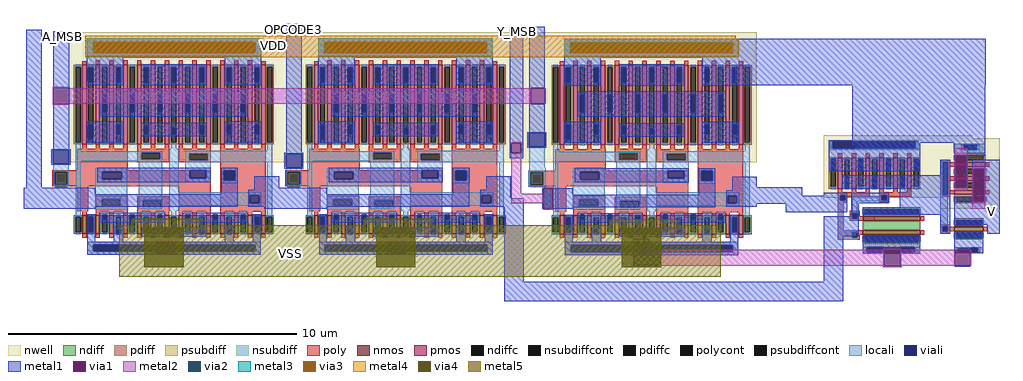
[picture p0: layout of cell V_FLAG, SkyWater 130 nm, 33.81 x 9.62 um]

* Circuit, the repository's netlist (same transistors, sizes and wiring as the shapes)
* NGSPICE file created from V_FLAG.ext - technology: sky130B

.subckt sky130_fd_pr__nfet_01v8_6H9P4D a_n73_n100# a_15_n100# a_n15_n126# VSUBS
X0 a_15_n100# a_n15_n126# a_n73_n100# VSUBS sky130_fd_pr__nfet_01v8 ad=0.29 pd=2.58 as=0.29 ps=2.58 w=1 l=0.15
.ends

.subckt efepmos_W107-L15-F3 a_n129_n204# a_n173_n107# w_n209_n207# a_n81_n107#
X0 a_n81_n107# a_n129_n204# a_n173_n107# w_n209_n207# sky130_fd_pr__pfet_01v8 ad=0.3317 pd=2.76 as=0.17655 ps=1.4 w=1.07 l=0.15
X1 a_n81_n107# a_n129_n204# a_n173_n107# w_n209_n207# sky130_fd_pr__pfet_01v8 ad=0.17655 pd=1.4 as=0.3317 ps=2.76 w=1.07 l=0.15
X2 a_n173_n107# a_n129_n204# a_n81_n107# w_n209_n207# sky130_fd_pr__pfet_01v8 ad=0.17655 pd=1.4 as=0.17655 ps=1.4 w=1.07 l=0.15
.ends

.subckt inv A VSS VDD Y
Xsky130_fd_pr__nfet_01v8_6H9P4D_0 Y VSS A VSS sky130_fd_pr__nfet_01v8_6H9P4D
Xefepmos_W107-L15-F3_0 A VDD VDD Y efepmos_W107-L15-F3
.ends

.subckt nmos_2shared_W200-L015-F1 a_63_n200# a_n63_n226# a_n33_n200# a_33_n226# a_n125_n200#
+ VSUBS
X0 a_n33_n200# a_n63_n226# a_n125_n200# VSUBS sky130_fd_pr__nfet_01v8 ad=0.33 pd=2.33 as=0.62 ps=4.62 w=2 l=0.15
X1 a_63_n200# a_33_n226# a_n33_n200# VSUBS sky130_fd_pr__nfet_01v8 ad=0.62 pd=4.62 as=0.33 ps=2.33 w=2 l=0.15
.ends

.subckt pmos_p2-w321-L015-f3 a_n317_n107# w_n353_n143# a_n225_n107# a_33_n138# a_n255_n138#
X0 a_n225_n107# a_33_n138# a_n317_n107# w_n353_n143# sky130_fd_pr__pfet_01v8 ad=0.17655 pd=1.4 as=0.17655 ps=1.4 w=1.07 l=0.15
X1 a_n225_n107# a_n255_n138# a_n317_n107# w_n353_n143# sky130_fd_pr__pfet_01v8 ad=0.17655 pd=1.4 as=0.3317 ps=2.76 w=1.07 l=0.15
X2 a_n317_n107# a_33_n138# a_n225_n107# w_n353_n143# sky130_fd_pr__pfet_01v8 ad=0.17655 pd=1.4 as=0.17655 ps=1.4 w=1.07 l=0.15
X3 a_n317_n107# a_n255_n138# a_n225_n107# w_n353_n143# sky130_fd_pr__pfet_01v8 ad=0.17655 pd=1.4 as=0.17655 ps=1.4 w=1.07 l=0.15
X4 a_n225_n107# a_n255_n138# a_n317_n107# w_n353_n143# sky130_fd_pr__pfet_01v8 ad=0.17655 pd=1.4 as=0.17655 ps=1.4 w=1.07 l=0.15
X5 a_n317_n107# a_33_n138# a_n225_n107# w_n353_n143# sky130_fd_pr__pfet_01v8 ad=0.3317 pd=2.76 as=0.17655 ps=1.4 w=1.07 l=0.15
.ends

.subckt NAND2 A B VSS VDD Y
Xnmos_2shared_W200-L015-F1_0 VSS B a_994_146# A Y VSS nmos_2shared_W200-L015-F1
Xpmos_p2-w321-L015-f3_0 VDD VDD Y B A pmos_p2-w321-L015-f3
.ends

.subckt XOR2 A B VSS VDD Y
X0 VDD A a_129_987# VDD sky130_fd_pr__pfet_01v8 ad=0.45375 pd=3.08 as=0.45375 ps=3.08 w=2.75 l=0.15
X1 a_129_987# A VDD VDD sky130_fd_pr__pfet_01v8 ad=0.45375 pd=3.08 as=0.45375 ps=3.08 w=2.75 l=0.15
X2 a_129_987# a_n51_367# Y VDD sky130_fd_pr__pfet_01v8 ad=0.45375 pd=3.08 as=0.45375 ps=3.08 w=2.75 l=0.15
X3 Y a_99_341# a_129_987# VDD sky130_fd_pr__pfet_01v8 ad=0.45375 pd=3.08 as=0.45375 ps=3.08 w=2.75 l=0.15
X4 Y a_n51_367# a_129_987# VDD sky130_fd_pr__pfet_01v8 ad=0.45375 pd=3.08 as=0.45375 ps=3.08 w=2.75 l=0.15
X5 Y a_n51_367# a_129_987# VDD sky130_fd_pr__pfet_01v8 ad=0.45375 pd=3.08 as=0.45375 ps=3.08 w=2.75 l=0.15
X6 a_129_987# a_99_341# Y VDD sky130_fd_pr__pfet_01v8 ad=0.45375 pd=3.08 as=0.45375 ps=3.08 w=2.75 l=0.15
X7 a_129_987# a_99_341# Y VDD sky130_fd_pr__pfet_01v8 ad=0.45375 pd=3.08 as=0.45375 ps=3.08 w=2.75 l=0.15
X8 VDD B a_129_987# VDD sky130_fd_pr__pfet_01v8 ad=0.45375 pd=3.08 as=0.45375 ps=3.08 w=2.75 l=0.15
X9 a_129_367# a_99_341# VSS VSS sky130_fd_pr__nfet_01v8 ad=0.10725 pd=0.98 as=0.10075 ps=0.96 w=0.65 l=0.15
X10 a_99_341# B VSS VSS sky130_fd_pr__nfet_01v8 ad=0.1885 pd=1.88 as=0.10075 ps=0.96 w=0.65 l=0.15
X11 a_129_987# B VDD VDD sky130_fd_pr__pfet_01v8 ad=0.45375 pd=3.08 as=0.45375 ps=3.08 w=2.75 l=0.15
X12 VDD B a_129_987# VDD sky130_fd_pr__pfet_01v8 ad=0.42625 pd=3.06 as=0.45375 ps=3.08 w=2.75 l=0.15
X13 VSS A a_n51_367# VSS sky130_fd_pr__nfet_01v8 ad=0.10075 pd=0.96 as=0.1885 ps=1.88 w=0.65 l=0.15
X14 a_129_987# A VDD VDD sky130_fd_pr__pfet_01v8 ad=0.45375 pd=3.08 as=0.42625 ps=3.06 w=2.75 l=0.15
X15 a_99_341# B VDD VDD sky130_fd_pr__pfet_01v8 ad=0.7975 pd=6.08 as=0.42625 ps=3.06 w=2.75 l=0.15
X16 VDD A a_n51_367# VDD sky130_fd_pr__pfet_01v8 ad=0.42625 pd=3.06 as=0.7975 ps=6.08 w=2.75 l=0.15
X17 VSS a_99_341# a_129_367# VSS sky130_fd_pr__nfet_01v8 ad=0.10725 pd=0.98 as=0.10725 ps=0.98 w=0.65 l=0.15
X18 a_129_367# a_99_341# VSS VSS sky130_fd_pr__nfet_01v8 ad=0.10725 pd=0.98 as=0.10725 ps=0.98 w=0.65 l=0.15
X19 a_129_367# a_n51_367# Y VSS sky130_fd_pr__nfet_01v8 ad=0.10725 pd=0.98 as=0.10725 ps=0.98 w=0.65 l=0.15
X20 Y A a_705_367# VSS sky130_fd_pr__nfet_01v8 ad=0.10725 pd=0.98 as=0.10725 ps=0.98 w=0.65 l=0.15
X21 Y a_n51_367# a_129_367# VSS sky130_fd_pr__nfet_01v8 ad=0.10725 pd=0.98 as=0.10725 ps=0.98 w=0.65 l=0.15
X22 Y a_n51_367# a_129_367# VSS sky130_fd_pr__nfet_01v8 ad=0.10725 pd=0.98 as=0.10725 ps=0.98 w=0.65 l=0.15
X23 a_705_367# A Y VSS sky130_fd_pr__nfet_01v8 ad=0.10725 pd=0.98 as=0.10725 ps=0.98 w=0.65 l=0.15
X24 a_705_367# A Y VSS sky130_fd_pr__nfet_01v8 ad=0.10725 pd=0.98 as=0.10725 ps=0.98 w=0.65 l=0.15
X25 VSS B a_705_367# VSS sky130_fd_pr__nfet_01v8 ad=0.10725 pd=0.98 as=0.10725 ps=0.98 w=0.65 l=0.15
X26 a_705_367# B VSS VSS sky130_fd_pr__nfet_01v8 ad=0.10725 pd=0.98 as=0.10725 ps=0.98 w=0.65 l=0.15
X27 VSS B a_705_367# VSS sky130_fd_pr__nfet_01v8 ad=0.10075 pd=0.96 as=0.10725 ps=0.98 w=0.65 l=0.15
.ends

.subckt V_FLAG A_MSB B_MSB OPCODE3 Y_MSB V
Xinv_0 inv_0/A VSUBS inv_0/VDD V inv
XNAND2_0 XOR2_0/Y XOR2_2/Y VSUBS inv_0/VDD inv_0/A NAND2
XXOR2_0 A_MSB Y_MSB VSUBS inv_0/VDD XOR2_0/Y XOR2
XXOR2_1 A_MSB B_MSB VSUBS inv_0/VDD XOR2_2/B XOR2
XXOR2_2 OPCODE3 XOR2_2/B VSUBS inv_0/VDD XOR2_2/Y XOR2
.ends

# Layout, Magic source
magic
tech sky130B
magscale 1 2
<< nwell >>
rect 1282 2682 1443 2683
rect -168 1782 4600 2682
rect 5760 1946 6094 1969
rect 5742 1916 6278 1946
rect 5733 1844 6278 1916
rect 5742 1542 6278 1844
rect 5770 1537 6278 1542
rect 5802 1536 6278 1537
<< poly >>
rect -282 1715 -59 1725
rect -282 1626 -266 1715
rect -177 1626 -59 1715
rect -282 1616 -59 1626
rect 1332 1715 1547 1725
rect 1332 1626 1348 1715
rect 1437 1626 1547 1715
rect 1332 1616 1547 1626
rect 3016 1713 3251 1723
rect 3016 1624 3032 1713
rect 3121 1624 3251 1713
rect 3016 1614 3251 1624
<< polycont >>
rect -266 1626 -177 1715
rect 1348 1626 1437 1715
rect 3032 1624 3121 1713
<< locali >>
rect -275 1715 -166 1770
rect -275 1626 -266 1715
rect -177 1626 -166 1715
rect -275 1616 -166 1626
rect 1338 1715 1447 1743
rect 3022 1745 3131 1888
rect 3022 1723 3138 1745
rect 1338 1626 1348 1715
rect 1437 1626 1447 1715
rect 1338 1616 1447 1626
rect 3016 1713 3138 1723
rect 3016 1624 3032 1713
rect 3121 1624 3138 1713
rect -266 1610 -177 1616
rect 1348 1610 1437 1616
rect 3016 1613 3138 1624
rect 3032 1610 3121 1613
<< viali >>
rect 3022 1888 3131 1985
rect -275 1770 -166 1867
rect 1338 1743 1447 1840
<< metal1 >>
rect -463 1604 -355 2700
rect -274 2297 -165 2690
rect -274 1873 -165 2185
rect -287 1867 -154 1873
rect -287 1770 -275 1867
rect -166 1770 -154 1867
rect 1338 1846 1447 2742
rect 2890 1913 2982 2720
rect 3022 2296 3131 2720
rect 4446 2316 6187 2637
rect 3022 2187 3034 2296
rect 3022 1991 3131 2187
rect -287 1764 -154 1770
rect 1326 1840 1459 1846
rect 1326 1743 1338 1840
rect 1447 1743 1459 1840
rect 2890 1844 2899 1913
rect 2968 1844 2982 1913
rect 3010 1985 3143 1991
rect 3010 1888 3022 1985
rect 3131 1888 3143 1985
rect 5261 1916 6184 2316
rect 5261 1898 5733 1916
rect 3010 1882 3143 1888
rect 5281 1848 5733 1898
rect 5965 1898 6184 1916
rect 5965 1848 6181 1898
rect 2890 1810 2982 1844
rect 1326 1737 1459 1743
rect 2759 1610 2872 1656
rect -481 1461 -47 1604
rect 1187 1461 1559 1604
rect 2759 1531 2857 1610
rect 2759 1519 2987 1531
rect 2850 955 2987 1519
rect 3114 1459 3120 1602
rect 3189 1459 3269 1602
rect 4473 1549 4916 1608
rect 4473 1494 5178 1549
rect 5760 1542 5908 1692
rect 5735 1536 5908 1542
rect 4802 1435 5178 1494
rect 5760 1418 5908 1536
rect 6209 1428 6251 1453
rect 5064 955 5200 1406
rect 5485 1180 5594 1250
rect 5475 1174 5602 1180
rect 5475 1065 5484 1174
rect 5594 1065 5602 1174
rect 5475 1056 5602 1065
rect 5971 1174 6080 1300
rect 5971 1059 6080 1065
rect 2850 818 5200 955
<< via1 >>
rect -274 2185 -165 2297
rect 3034 2187 3131 2296
rect 2899 1844 2968 1913
rect 3120 1459 3189 1602
rect 5484 1065 5594 1174
rect 5971 1065 6080 1174
<< metal2 >>
rect -280 2297 -160 2304
rect -280 2185 -274 2297
rect -165 2296 -160 2297
rect -165 2187 3034 2296
rect 3131 2187 3137 2296
rect -165 2185 -160 2187
rect -280 2179 -160 2185
rect 2899 1913 2968 1919
rect 2899 1565 2968 1844
rect 3120 1602 3189 1608
rect 2899 1496 3120 1565
rect 3120 1453 3189 1459
rect 3744 1174 3853 1251
rect 5474 1174 5605 1184
rect 3744 1065 5484 1174
rect 5594 1065 5971 1174
rect 6080 1065 6086 1174
rect 5474 1055 5605 1065
<< metal4 >>
rect -52 2509 4453 2657
<< metal5 >>
rect 181 989 4352 1346
use inv  inv_0 ~/Documents/vlsi/vlsi_sky130b/design/mag/inv
transform 1 0 5870 0 1 1461
box 0 -311 412 486
use NAND2  NAND2_0 ~/Documents/vlsi/vlsi_sky130b/design/mag/NAND/NAND2
transform 1 0 4708 0 1 1165
box 356 -17 1062 804
use XOR2  XOR2_0 ~/Documents/vlsi/vlsi_sky130b/design/mag/XOR
transform 1 0 3229 0 1 917
box -109 77 1371 1764
use XOR2  XOR2_1
transform 1 0 -81 0 1 919
box -109 77 1371 1764
use XOR2  XOR2_2
transform 1 0 1525 0 1 919
box -109 77 1371 1764
<< labels >>
flabel metal1 -237 2635 -190 2673 0 FreeSans 160 0 0 0 A_MSB
port 1 nsew
flabel metal1 -432 2633 -385 2671 0 FreeSans 160 0 0 0 B_MSB
port 2 nsew
flabel metal1 1367 2683 1414 2721 0 FreeSans 160 0 0 0 OPCODE3
port 3 nsew
flabel metal1 2920 2675 2962 2700 0 FreeSans 160 0 0 0 Y_MSB
port 4 nsew
flabel metal1 6209 1428 6251 1453 0 FreeSans 160 0 0 0 V
port 5 nsew
flabel metal5 1282 1012 1456 1282 0 FreeSans 1600 0 0 0 VSS
port 6 nsew
flabel metal4 1220 2552 1282 2624 0 FreeSans 1600 0 0 0 VDD
port 7 nsew
<< end >>

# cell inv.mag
magic
tech sky130B
magscale 1 2
<< nwell >>
rect 0 366 412 486
rect 101 347 104 366
rect 223 290 343 338
rect 326 288 343 290
rect 376 0 412 366
<< psubdiff >>
rect 100 -270 300 -268
rect 100 -304 131 -270
rect 263 -304 300 -270
rect 100 -311 300 -304
<< nsubdiff >>
rect 100 442 314 448
rect 100 408 163 442
rect 254 408 314 442
rect 100 382 314 408
<< psubdiffcont >>
rect 131 -304 263 -270
<< nsubdiffcont >>
rect 163 408 254 442
<< poly >>
rect 3 -124 70 -108
rect 3 -158 19 -124
rect 53 -126 70 -124
rect 53 -156 75 -126
rect 53 -158 70 -156
rect 3 -174 70 -158
<< polycont >>
rect 19 -158 53 -124
<< locali >>
rect 147 408 163 442
rect 254 408 270 442
rect 3 -124 53 339
rect 3 -158 19 -124
rect 3 -174 53 -158
rect 115 -304 131 -270
rect 263 -304 279 -270
<< viali >>
rect 163 408 254 442
rect 19 -158 53 -124
rect 131 -304 263 -270
<< metal1 >>
rect 100 442 314 486
rect 100 408 163 442
rect 254 408 314 442
rect 100 366 314 408
rect 101 347 104 366
rect 0 80 53 338
rect 223 82 412 338
rect 0 -124 69 80
rect 100 -114 412 82
rect 0 -158 19 -124
rect 53 -158 69 -124
rect 0 -175 69 -158
rect 100 -270 300 -161
rect 328 -175 412 -114
rect 100 -304 131 -270
rect 263 -304 300 -270
rect 100 -311 300 -304
use efepmos_W107-L15-F3  efepmos_W107-L15-F3_0
transform 0 1 207 -1 0 209
box -209 -207 209 169
use sky130_fd_pr__nfet_01v8_6H9P4D  sky130_fd_pr__nfet_01v8_6H9P4D_0
transform 0 1 200 -1 0 -141
box -73 -126 73 126
<< labels >>
rlabel metal1 0 78 0 78 3 A
port 1 e
rlabel metal1 198 -311 198 -311 5 VSS
port 2 s
rlabel metal1 210 486 210 486 5 VDD
port 3 s
rlabel metal1 412 78 412 78 3 Y
port 4 e
<< end >>

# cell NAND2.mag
magic
tech sky130B
magscale 1 2
<< nwell >>
rect 356 684 1062 804
<< ndiff >>
rect 994 146 996 148
rect 626 54 1026 60
<< psubdiff >>
rect 626 28 1026 54
rect 626 -6 653 28
rect 988 -6 1026 28
rect 626 -17 1026 -6
<< nsubdiff >>
rect 396 761 1013 768
rect 396 714 420 761
rect 989 714 1013 761
rect 396 702 1013 714
<< psubdiffcont >>
rect 653 -6 988 28
<< nsubdiffcont >>
rect 420 714 989 761
<< poly >>
rect 453 387 520 408
rect 453 352 470 387
rect 504 352 520 387
rect 453 341 520 352
rect 742 387 809 408
rect 742 352 759 387
rect 793 352 809 387
rect 742 341 809 352
rect 453 146 496 341
rect 538 263 604 279
rect 538 228 554 263
rect 588 242 604 263
rect 588 228 714 242
rect 538 212 714 228
rect 453 130 604 146
rect 453 95 554 130
rect 588 95 604 130
rect 453 79 604 95
<< polycont >>
rect 470 352 504 387
rect 759 352 793 387
rect 554 228 588 263
rect 554 95 588 130
<< locali >>
rect 404 714 420 761
rect 989 714 1013 761
rect 453 352 470 387
rect 504 352 520 387
rect 742 381 759 387
rect 554 352 759 381
rect 793 352 809 387
rect 453 146 496 352
rect 554 347 809 352
rect 554 263 588 347
rect 554 212 588 228
rect 453 130 588 146
rect 453 95 554 130
rect 453 79 588 95
rect 626 -6 653 28
rect 988 -6 1026 28
<< viali >>
rect 420 714 989 761
rect 470 352 504 387
rect 759 352 793 387
rect 554 228 588 263
rect 653 -6 988 28
<< metal1 >>
rect 391 761 1025 768
rect 391 714 420 761
rect 989 714 1025 761
rect 391 555 1025 714
rect 485 434 1062 526
rect 356 387 520 405
rect 356 352 470 387
rect 504 352 520 387
rect 356 270 520 352
rect 548 387 808 406
rect 548 352 759 387
rect 793 352 808 387
rect 548 332 808 352
rect 548 263 598 332
rect 884 304 1062 434
rect 548 241 554 263
rect 356 228 554 241
rect 588 228 598 263
rect 626 252 1062 304
rect 356 105 598 228
rect 626 28 1026 105
rect 626 -6 653 28
rect 988 -6 1026 28
rect 626 -17 1026 -6
use nmos_2shared_W200-L015-F1  nmos_2shared_W200-L015-F1_0
transform 0 1 826 -1 0 179
box -125 -226 125 226
use pmos_p2-w321-L015-f3  pmos_p2-w321-L015-f3_0
transform 1 0 709 0 -1 541
box -353 -143 353 169
<< labels >>
rlabel metal1 356 341 356 341 7 A
port 1 w
rlabel metal1 356 173 356 173 7 B
port 2 w
rlabel metal1 826 54 826 54 5 VSS
port 3 s
rlabel metal1 709 684 709 684 1 VDD
port 4 n
rlabel metal1 1062 451 1062 451 3 Y
port 5 e
<< end >>

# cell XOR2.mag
magic
tech sky130B
magscale 1 2
<< nwell >>
rect -87 864 1371 1764
<< nmos >>
rect 7 367 37 497
rect 99 367 129 497
rect 195 367 225 497
rect 291 367 321 497
rect 387 367 417 497
rect 483 367 513 497
rect 579 367 609 497
rect 675 367 705 497
rect 771 367 801 497
rect 867 367 897 497
rect 963 367 993 497
rect 1059 367 1089 497
rect 1155 367 1185 497
rect 1247 367 1277 497
<< pmos >>
rect 7 987 37 1537
rect 99 987 129 1537
rect 195 987 225 1537
rect 291 987 321 1537
rect 387 987 417 1537
rect 483 987 513 1537
rect 579 987 609 1537
rect 675 987 705 1537
rect 771 987 801 1537
rect 867 987 897 1537
rect 963 987 993 1537
rect 1059 987 1089 1537
rect 1155 987 1185 1537
rect 1247 987 1277 1537
<< ndiff >>
rect -51 485 7 497
rect -51 379 -39 485
rect -5 379 7 485
rect -51 367 7 379
rect 37 485 99 497
rect 37 379 49 485
rect 83 379 99 485
rect 37 367 99 379
rect 129 485 195 497
rect 129 379 145 485
rect 179 379 195 485
rect 129 367 195 379
rect 225 485 291 497
rect 225 379 241 485
rect 275 379 291 485
rect 225 367 291 379
rect 321 485 387 497
rect 321 379 337 485
rect 371 379 387 485
rect 321 367 387 379
rect 417 485 483 497
rect 417 379 433 485
rect 467 379 483 485
rect 417 367 483 379
rect 513 485 579 497
rect 513 379 529 485
rect 563 379 579 485
rect 513 367 579 379
rect 609 485 675 497
rect 609 379 625 485
rect 659 379 675 485
rect 609 367 675 379
rect 705 485 771 497
rect 705 379 721 485
rect 755 379 771 485
rect 705 367 771 379
rect 801 485 867 497
rect 801 379 817 485
rect 851 379 867 485
rect 801 367 867 379
rect 897 485 963 497
rect 897 379 913 485
rect 947 379 963 485
rect 897 367 963 379
rect 993 485 1059 497
rect 993 379 1009 485
rect 1043 379 1059 485
rect 993 367 1059 379
rect 1089 485 1155 497
rect 1089 379 1105 485
rect 1139 379 1155 485
rect 1089 367 1155 379
rect 1185 485 1247 497
rect 1185 379 1201 485
rect 1235 379 1247 485
rect 1185 367 1247 379
rect 1277 485 1335 497
rect 1277 379 1289 485
rect 1323 379 1335 485
rect 1277 367 1335 379
<< pdiff >>
rect -51 1525 7 1537
rect -51 999 -39 1525
rect -5 999 7 1525
rect -51 987 7 999
rect 37 1525 99 1537
rect 37 999 49 1525
rect 83 999 99 1525
rect 37 987 99 999
rect 129 1525 195 1537
rect 129 999 145 1525
rect 179 999 195 1525
rect 129 987 195 999
rect 225 1525 291 1537
rect 225 999 241 1525
rect 275 999 291 1525
rect 225 987 291 999
rect 321 1525 387 1537
rect 321 999 337 1525
rect 371 999 387 1525
rect 321 987 387 999
rect 417 1525 483 1537
rect 417 999 433 1525
rect 467 999 483 1525
rect 417 987 483 999
rect 513 1525 579 1537
rect 513 999 529 1525
rect 563 999 579 1525
rect 513 987 579 999
rect 609 1525 675 1537
rect 609 999 625 1525
rect 659 999 675 1525
rect 609 987 675 999
rect 705 1525 771 1537
rect 705 999 721 1525
rect 755 999 771 1525
rect 705 987 771 999
rect 801 1525 867 1537
rect 801 999 817 1525
rect 851 999 867 1525
rect 801 987 867 999
rect 897 1525 963 1537
rect 897 999 913 1525
rect 947 999 963 1525
rect 897 987 963 999
rect 993 1525 1059 1537
rect 993 999 1009 1525
rect 1043 999 1059 1525
rect 993 987 1059 999
rect 1089 1525 1155 1537
rect 1089 999 1105 1525
rect 1139 999 1155 1525
rect 1089 987 1155 999
rect 1185 1525 1247 1537
rect 1185 999 1201 1525
rect 1235 999 1247 1525
rect 1185 987 1247 999
rect 1277 1525 1335 1537
rect 1277 999 1289 1525
rect 1323 999 1335 1525
rect 1277 987 1335 999
<< ndiffc >>
rect -39 379 -5 485
rect 49 379 83 485
rect 145 379 179 485
rect 241 379 275 485
rect 337 379 371 485
rect 433 379 467 485
rect 529 379 563 485
rect 625 379 659 485
rect 721 379 755 485
rect 817 379 851 485
rect 913 379 947 485
rect 1009 379 1043 485
rect 1105 379 1139 485
rect 1201 379 1235 485
rect 1289 379 1323 485
<< pdiffc >>
rect -39 999 -5 1525
rect 49 999 83 1525
rect 145 999 179 1525
rect 241 999 275 1525
rect 337 999 371 1525
rect 433 999 467 1525
rect 529 999 563 1525
rect 625 999 659 1525
rect 721 999 755 1525
rect 817 999 851 1525
rect 913 999 947 1525
rect 1009 999 1043 1525
rect 1105 999 1139 1525
rect 1201 999 1235 1525
rect 1289 999 1323 1525
<< psubdiff >>
rect 42 291 1244 313
rect 42 245 83 291
rect 1206 245 1244 291
rect 42 222 1244 245
<< nsubdiff >>
rect 37 1694 1247 1722
rect 37 1622 83 1694
rect 1205 1622 1247 1694
rect 37 1596 1247 1622
<< psubdiffcont >>
rect 83 245 1206 291
<< nsubdiffcont >>
rect 83 1622 1205 1694
<< poly >>
rect 7 1537 37 1563
rect 99 1537 129 1568
rect 195 1537 225 1568
rect 291 1537 321 1568
rect 387 1537 417 1568
rect 483 1537 513 1568
rect 579 1537 609 1568
rect 675 1537 705 1568
rect 771 1537 801 1568
rect 867 1537 897 1568
rect 963 1537 993 1568
rect 1059 1537 1089 1568
rect 1155 1537 1185 1568
rect 1247 1537 1277 1563
rect 7 956 37 987
rect 99 956 129 987
rect 195 956 225 987
rect 291 956 321 987
rect 387 957 417 987
rect 483 957 513 987
rect 579 957 609 987
rect -26 806 323 956
rect 387 928 609 957
rect 387 883 417 928
rect 547 883 609 928
rect 387 864 609 883
rect 675 956 705 987
rect 771 956 801 987
rect 867 956 897 987
rect 675 923 897 956
rect 675 878 748 923
rect 878 878 897 923
rect 675 863 897 878
rect 963 956 993 987
rect 1059 956 1089 987
rect 1155 956 1185 987
rect 1247 956 1277 987
rect -87 697 897 806
rect -26 522 50 697
rect 99 607 321 632
rect 99 562 142 607
rect 272 562 321 607
rect 7 497 37 522
rect 99 519 321 562
rect 99 497 129 519
rect 195 497 225 519
rect 291 497 321 519
rect 387 599 609 627
rect 387 554 425 599
rect 555 554 609 599
rect 387 519 609 554
rect 387 497 417 519
rect 483 497 513 519
rect 579 497 609 519
rect 675 519 897 697
rect 675 497 705 519
rect 771 497 801 519
rect 867 497 897 519
rect 963 799 1277 956
rect 963 744 995 799
rect 1060 744 1277 799
rect 963 519 1277 744
rect 963 497 993 519
rect 1059 497 1089 519
rect 1155 497 1185 519
rect 1247 497 1277 519
rect 7 341 37 367
rect 99 341 129 367
rect 195 341 225 367
rect 291 341 321 367
rect 387 341 417 367
rect 483 341 513 367
rect 579 341 609 367
rect 675 341 705 367
rect 771 341 801 367
rect 867 341 897 367
rect 963 341 993 367
rect 1059 341 1089 367
rect 1155 341 1185 367
rect 1247 341 1277 367
<< polycont >>
rect 417 883 547 928
rect 748 878 878 923
rect 142 562 272 607
rect 425 554 555 599
rect 995 744 1060 799
<< locali >>
rect 37 1694 1247 1722
rect 37 1622 83 1694
rect 1205 1622 1247 1694
rect 37 1596 1247 1622
rect -39 1525 -5 1541
rect -39 938 -5 999
rect 49 1525 83 1541
rect 49 983 83 999
rect 145 1525 179 1541
rect 145 983 179 999
rect 241 1525 275 1541
rect 241 983 275 999
rect 337 1525 371 1541
rect 337 983 371 999
rect 433 1525 467 1541
rect 433 983 467 999
rect 529 1525 563 1541
rect 529 983 563 999
rect 625 1525 659 1541
rect 625 956 659 999
rect 721 1525 755 1541
rect 721 983 755 999
rect 817 1525 851 1541
rect 817 983 851 999
rect 913 1525 947 1541
rect 913 983 947 999
rect 1009 1525 1043 1541
rect 1009 983 1043 999
rect 1105 1525 1139 1541
rect 1105 983 1139 999
rect 1201 1525 1235 1541
rect 1201 983 1235 999
rect 1289 1525 1323 1541
rect -39 928 563 938
rect -39 883 417 928
rect 547 883 563 928
rect -39 869 563 883
rect -39 485 -5 869
rect 97 798 318 825
rect 97 745 147 798
rect 280 745 318 798
rect 97 607 318 745
rect 97 562 142 607
rect 272 562 318 607
rect 97 535 318 562
rect 398 599 563 869
rect 398 554 425 599
rect 555 554 563 599
rect 398 537 563 554
rect 609 656 675 956
rect 1289 941 1323 999
rect 721 923 1323 941
rect 721 878 748 923
rect 878 878 1323 923
rect 721 864 1323 878
rect 721 806 898 864
rect 721 753 753 806
rect 867 753 898 806
rect 721 724 898 753
rect 970 805 1085 823
rect 970 737 987 805
rect 1067 737 1085 805
rect 970 717 1085 737
rect 609 634 1249 656
rect 609 579 1169 634
rect 1234 579 1249 634
rect 609 560 1249 579
rect 609 526 675 560
rect -39 363 -5 379
rect 49 485 83 501
rect 49 363 83 379
rect 145 500 179 501
rect 145 363 179 379
rect 241 485 275 501
rect 241 363 275 365
rect 337 500 371 501
rect 337 363 371 379
rect 433 485 467 501
rect 433 363 467 365
rect 529 499 563 501
rect 529 363 563 379
rect 625 485 659 526
rect 625 363 659 365
rect 721 500 755 501
rect 721 363 755 379
rect 817 485 851 501
rect 817 363 851 365
rect 913 500 947 501
rect 913 363 947 379
rect 1009 485 1043 501
rect 1009 363 1043 365
rect 1105 500 1139 501
rect 1105 363 1139 379
rect 1201 485 1235 501
rect 1201 363 1235 379
rect 1289 485 1323 864
rect 1289 363 1323 379
rect 42 291 1244 313
rect 42 245 83 291
rect 1206 245 1244 291
rect 42 222 1244 245
<< viali >>
rect 83 1622 1205 1694
rect 49 1417 83 1519
rect 49 1022 83 1124
rect 145 1209 179 1333
rect 241 1417 275 1519
rect 241 1058 275 1124
rect 337 1209 371 1333
rect 433 1415 467 1517
rect 433 1058 467 1118
rect 529 1209 563 1333
rect 625 1414 659 1516
rect 625 1058 659 1101
rect 721 1209 755 1333
rect 817 1414 851 1516
rect 817 1058 851 1118
rect 913 1209 947 1333
rect 1009 1414 1043 1516
rect 1009 1058 1043 1125
rect 1105 1208 1139 1332
rect 1201 1414 1235 1516
rect 1201 1058 1235 1125
rect 147 745 280 798
rect 753 753 867 806
rect 987 799 1067 805
rect 987 744 995 799
rect 995 744 1060 799
rect 1060 744 1067 799
rect 987 737 1067 744
rect 1169 579 1234 634
rect 49 379 83 485
rect 145 485 179 500
rect 145 466 179 485
rect 241 379 275 399
rect 241 365 275 379
rect 337 485 371 500
rect 337 466 371 485
rect 433 379 467 399
rect 433 365 467 379
rect 529 485 563 499
rect 529 465 563 485
rect 625 379 659 399
rect 625 365 659 379
rect 721 485 755 500
rect 721 466 755 485
rect 817 379 851 399
rect 817 365 851 379
rect 913 485 947 500
rect 913 466 947 485
rect 1009 379 1043 399
rect 1009 365 1043 379
rect 1105 485 1139 500
rect 1105 466 1139 485
rect 1201 379 1235 485
rect 83 245 1206 291
<< metal1 >>
rect 37 1694 1247 1722
rect 37 1622 83 1694
rect 1205 1622 1247 1694
rect 37 1588 1247 1622
rect 37 1519 291 1588
rect 37 1417 49 1519
rect 83 1417 241 1519
rect 275 1417 291 1519
rect 37 1396 291 1417
rect 417 1517 867 1543
rect 417 1415 433 1517
rect 467 1516 867 1517
rect 467 1415 625 1516
rect 417 1414 625 1415
rect 659 1414 817 1516
rect 851 1414 867 1516
rect 417 1396 867 1414
rect 993 1516 1247 1588
rect 993 1414 1009 1516
rect 1043 1414 1201 1516
rect 1235 1414 1247 1516
rect 993 1396 1247 1414
rect 129 1333 1155 1358
rect 129 1209 145 1333
rect 179 1209 337 1333
rect 371 1209 529 1333
rect 563 1209 721 1333
rect 755 1209 913 1333
rect 947 1332 1155 1333
rect 947 1209 1105 1332
rect 129 1208 1105 1209
rect 1139 1208 1155 1332
rect 129 1179 1155 1208
rect 37 1124 291 1146
rect 37 1022 49 1124
rect 83 1058 241 1124
rect 275 1058 291 1124
rect 83 1022 291 1058
rect 417 1118 867 1135
rect 417 1058 433 1118
rect 467 1101 817 1118
rect 467 1058 625 1101
rect 659 1058 817 1101
rect 851 1058 867 1118
rect 417 1043 867 1058
rect 993 1125 1247 1146
rect 993 1058 1009 1125
rect 1043 1058 1201 1125
rect 1235 1058 1247 1125
rect 37 999 291 1022
rect 993 999 1247 1058
rect 110 806 899 824
rect 110 798 753 806
rect 110 745 147 798
rect 280 753 753 798
rect 867 753 899 806
rect 280 745 899 753
rect 110 725 899 745
rect 969 805 1084 824
rect 969 737 987 805
rect 1067 737 1084 805
rect -109 640 96 685
rect 969 640 1084 737
rect 1200 671 1371 764
rect -109 554 1084 640
rect 1158 634 1371 671
rect 1158 579 1169 634
rect 1234 579 1371 634
rect 1158 555 1371 579
rect -109 542 96 554
rect 42 485 97 501
rect 42 379 49 485
rect 83 379 97 485
rect 129 500 579 512
rect 129 466 145 500
rect 179 466 337 500
rect 371 499 579 500
rect 371 466 529 499
rect 129 465 529 466
rect 563 465 579 499
rect 129 444 579 465
rect 705 500 1155 512
rect 705 466 721 500
rect 755 466 913 500
rect 947 466 1105 500
rect 1139 466 1155 500
rect 705 444 1155 466
rect 1189 485 1244 501
rect 42 313 97 379
rect 227 399 292 416
rect 227 365 241 399
rect 275 365 292 399
rect 227 313 292 365
rect 420 399 867 411
rect 420 365 433 399
rect 467 365 625 399
rect 659 365 817 399
rect 851 365 867 399
rect 420 347 867 365
rect 993 399 1058 415
rect 993 365 1009 399
rect 1043 365 1058 399
rect 993 313 1058 365
rect 1189 379 1201 485
rect 1235 379 1244 485
rect 1189 313 1244 379
rect 42 302 1244 313
rect 42 291 543 302
rect 603 291 1244 302
rect 42 245 83 291
rect 1206 245 1244 291
rect 42 242 543 245
rect 603 242 1244 245
rect 42 222 1244 242
<< via1 >>
rect 83 1622 1205 1694
rect 543 291 603 302
rect 543 245 603 291
rect 543 242 603 245
<< metal2 >>
rect 37 1694 1247 1722
rect 37 1622 83 1694
rect 1205 1622 1247 1694
rect 37 1596 1247 1622
rect 532 302 614 313
rect 532 242 543 302
rect 603 242 614 302
rect 532 231 614 242
<< via2 >>
rect 83 1622 1205 1694
rect 543 242 603 302
<< metal3 >>
rect 37 1694 1247 1722
rect 37 1622 83 1694
rect 1205 1622 1247 1694
rect 37 1596 1247 1622
rect 518 307 644 313
rect 518 237 538 307
rect 608 237 644 307
rect 518 222 644 237
<< via3 >>
rect 83 1622 1205 1694
rect 538 302 608 307
rect 538 242 543 302
rect 543 242 603 302
rect 603 242 608 302
rect 538 237 608 242
<< metal4 >>
rect 37 1694 1247 1722
rect 37 1622 83 1694
rect 1205 1622 1247 1694
rect 37 1596 1247 1622
<< via4 >>
rect 437 307 709 408
rect 437 237 538 307
rect 538 237 608 307
rect 608 237 709 307
rect 437 136 709 237
<< metal5 >>
rect 354 408 824 471
rect 354 136 437 408
rect 709 136 824 408
rect 354 77 824 136
<< labels >>
rlabel poly -72 732 -48 772 7 A
port 1 w
rlabel metal1 -94 588 -70 628 7 B
port 2 w
rlabel via1 438 1644 532 1670 5 VDD
port 4 s
rlabel metal1 1296 616 1348 694 5 Y
port 5 s
rlabel metal1 368 256 462 282 5 VSS
port 3 s
<< end >>

# cell nmos_2shared_W200-L015-F1: kit device sky130_fd_pr__nfet_01v8, w 2 l 0.150 m 1 nf 2 diffcov 100 polycov 100 guard 0 glc 1 grc 1 gtc 1 gbc 1 tbcov 100 rlcov 100 topc 0 botc 0 poverlap 1 doverlap 1 lmin 0.15 wmin 0.42 compatible {sky130_fd_pr__nfet_01v8 sky130_fd_pr__nfet_01v8_lvt sky130_fd_bs_flash__special_sonosfet_star sky130_fd_pr__nfet_g5v0d10v5 sky130_fd_pr__nfet_05v0_nvt sky130_fd_pr__nfet_03v3_nvt} full_metal 1 viasrc 100 viadrn 100 viagate 100 viagb 0 viagr 0 viagl 0 viagt 0

# cell pmos_p2-w321-L015-f3: kit device sky130_fd_pr__pfet_01v8, w 1.07 l 0.15 m 1 nf 6 diffcov 100 polycov 100 guard 0 glc 1 grc 1 gtc 1 gbc 1 tbcov 100 rlcov 100 topc 0 botc 0 poverlap 0 doverlap 1 lmin 0.15 wmin 0.42 compatible {sky130_fd_pr__pfet_01v8 sky130_fd_pr__pfet_01v8_lvt sky130_fd_pr__pfet_01v8_hvt sky130_fd_pr__pfet_g5v0d10v5} full_metal 1 viasrc 100 viadrn 100 viagate 100 viagb 0 viagr 0 viagl 0 viagt 0

# cell efepmos_W107-L15-F3: kit device sky130_fd_pr__pfet_01v8, w 1.07 l 0.15 m 1 nf 3 diffcov 100 polycov 100 guard 0 glc 1 grc 1 gtc 1 gbc 1 tbcov 100 rlcov 100 topc 0 botc 0 poverlap 0 doverlap 1 lmin 0.15 wmin 0.42 compatible {sky130_fd_pr__pfet_01v8 sky130_fd_pr__pfet_01v8_lvt sky130_fd_pr__pfet_01v8_hvt sky130_fd_pr__pfet_g5v0d10v5} full_metal 1 viasrc 100 viadrn 100 viagate 100 viagb 0 viagr 0 viagl 0 viagt 0

# cell sky130_fd_pr__nfet_01v8_6H9P4D: kit device sky130_fd_pr__nfet_01v8, w 1 l 0.150 m 1 nf 1 diffcov 100 polycov 100 guard 0 glc 1 grc 1 gtc 1 gbc 1 tbcov 100 rlcov 100 topc 0 botc 0 poverlap 0 doverlap 1 lmin 0.15 wmin 0.42 compatible {sky130_fd_pr__nfet_01v8 sky130_fd_pr__nfet_01v8_lvt sky130_fd_bs_flash__special_sonosfet_star sky130_fd_pr__nfet_g5v0d10v5 sky130_fd_pr__nfet_05v0_nvt sky130_fd_pr__nfet_03v3_nvt} full_metal 1 viasrc 100 viadrn 100 viagate 100 viagb 0 viagr 0 viagl 0 viagt 0
